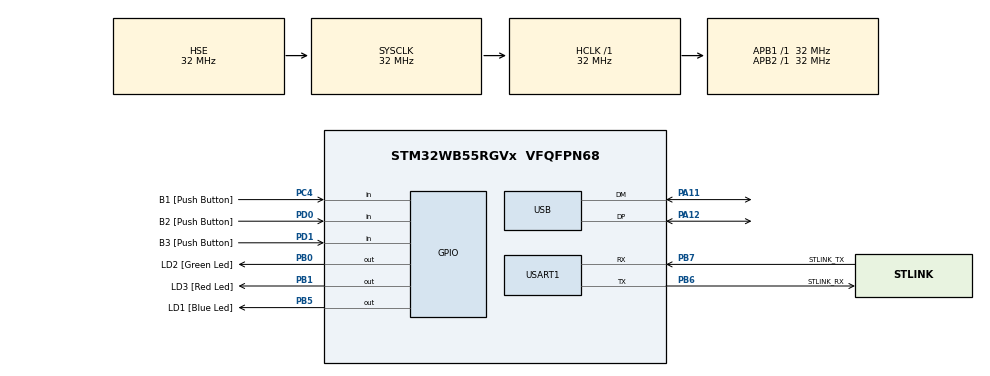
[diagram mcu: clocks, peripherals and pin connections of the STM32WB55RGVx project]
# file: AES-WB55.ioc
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AES1.KeySize=CRYP_KEYSIZE_256B
AES1.pKey=603DEB10 15CA71BE 2B73AEF0 857D7781 1F352C07 3B6108D7 2D9810A3 0914DFF4
Mcu.Family=STM32WB
Mcu.Name=STM32WB55RGVx
Mcu.Package=VFQFPN68
NVIC.PriorityGroup=NVIC_PRIORITYGROUP_4
OSC_IN.Mode=HSE-External-Oscillator
OSC_IN.Signal=RCC_OSC_IN
OSC_OUT.Mode=HSE-External-Oscillator
OSC_OUT.Signal=RCC_OSC_OUT
PA11.Mode=Device
PA11.Signal=USB_DM
PA12.Mode=Device
PA12.Signal=USB_DP
PA13.GPIO_Label=JTMS
PA13.Mode=Trace_Asynchronous_SW
PA13.Signal=SYS_JTMS-SWDIO
PA14.GPIO_Label=JTCK
PA14.Mode=Trace_Asynchronous_SW
PA14.Signal=SYS_JTCK-SWCLK
PB0.GPIO_Label=LD2 [Green Led]
PB0.Signal=GPIO_Output
PB1.GPIO_Label=LD3 [Red Led]
PB1.Signal=GPIO_Output
PB3.GPIO_Label=JTDO
PB3.Mode=Trace_Asynchronous_SW
PB3.Signal=SYS_JTDO-SWO
PB5.GPIO_Label=LD1 [Blue Led]
PB5.Signal=GPIO_Output
PB6.GPIO_Label=STLINK_RX
PB6.GPIO_PuPd=GPIO_PULLUP
PB6.Mode=Asynchronous
PB6.Signal=USART1_TX
PB7.GPIO_Label=STLINK_TX
PB7.GPIO_PuPd=GPIO_PULLUP
PB7.Mode=Asynchronous
PB7.Signal=USART1_RX
PC13.Mode=SYS_WakeUp1
PC13.Signal=SYS_WKUP2
PC14-OSC32_IN.Mode=LSE-External-Oscillator
PC14-OSC32_IN.Signal=RCC_OSC32_IN
PC15-OSC32_OUT.Mode=LSE-External-Oscillator
PC15-OSC32_OUT.Signal=RCC_OSC32_OUT
PC4.GPIO_Label=B1 [Push Button]
PC4.Signal=GPIO_Input
PD0.GPIO_Label=B2 [Push Button]
PD0.Signal=GPIO_Input
PD1.GPIO_Label=B3 [Push Button]
PD1.Signal=GPIO_Input
ProjectManager.HeapSize=0x200
ProjectManager.StackSize=0x400
ProjectManager.TargetToolchain=STM32CubeIDE
RCC.ADCFreq_Value=48000000
RCC.AHBFreq_Value=32000000
RCC.APB1Freq_Value=32000000
RCC.APB1TimFreq_Value=32000000
RCC.APB2Freq_Value=32000000
RCC.APB2TimFreq_Value=32000000
RCC.APB3Freq_Value=16000000
RCC.CortexFreq_Value=32000000
RCC.HCLKFreq_Value=32000000
RCC.HSE_VALUE=32000000
RCC.HSI48_VALUE=48000000
RCC.HSI_VALUE=16000000
RCC.PLLN=32
RCC.PLLSAI1N=24
RCC.SMPSCLockSelectionVirtual=RCC_SMPSCLKSOURCE_HSI
RCC.SMPSCLockSelectionVirtualVirtual=RCC_SMPSCLKSOURCE_HSI
RCC.SMPSDivider=1
RCC.SYSCLKFreq_VALUE=32000000
RCC.SYSCLKSource=RCC_SYSCLKSOURCE_HSE
RCC.USBFreq_Value=48000000
RCC.VCOOutputFreq_Value=128000000
USART1.VirtualMode-Asynchronous=VM_ASYNC
USART1.WordLength=WORDLENGTH_7B
VP_AES1_VS_AES.Mode=AES_Activate
board=P-NUCLEO-WB55-Nucleo

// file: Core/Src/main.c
/* USER CODE BEGIN Header */
/**
  ******************************************************************************
  * @file           : main.c
  * @brief          : Main program body
  ******************************************************************************
  * @attention
  *
  * <h2><center>&copy; Copyright (c) 2021 STMicroelectronics.
  * All rights reserved.</center></h2>
  *
  * This software component is licensed by ST under BSD 3-Clause license,
  * the "License"; You may not use this file except in compliance with the
  * License. You may obtain a copy of the License at:
  *                        opensource.org/licenses/BSD-3-Clause
  *
  ******************************************************************************
  ******************************************************************************
  ******************************************************************************
	F.1.5 ECB-AES256.Encrypt
	Key 603deb1015ca71be2b73aef0857d77811f352c073b6108d72d9810a30914dff4
	Block #1
	Plaintext 6bc1bee22e409f96e93d7e117393172a
	Input Block 6bc1bee22e409f96e93d7e117393172a
	Output Block f3eed1bdb5d2a03c064b5a7e3db181f8
	Ciphertext f3eed1bdb5d2a03c064b5a7e3db181f8

  */
/* USER CODE END Header */
#include "main.h"

CRYP_HandleTypeDef hcryp1;
__ALIGN_BEGIN static const uint32_t pKeyAES1[8] __ALIGN_END = {
                            0x603DEB10,0x15CA71BE,0x2B73AEF0,0x857D7781,0x1F352C07,0x3B6108D7,0x2D9810A3,0x0914DFF4};

UART_HandleTypeDef huart1;

PCD_HandleTypeDef hpcd_USB_FS;

/* USER CODE BEGIN PV */
uint32_t input_data[4]={0x6bc1bee2, 0x2e409f96, 0xe93d7e11, 0x7393172a};
uint32_t encrypted_data[4];
uint32_t decrypted_data[4];

volatile uint32_t time_start, time_end, time_diff;
#define TIME_MEASURE_START time_start = SysTick->VAL
#define TIME_MEASURE_STOP time_end = SysTick->VAL; \
	time_diff=time_start-time_end

/* USER CODE END PV */

void SystemClock_Config(void);
static void MX_GPIO_Init(void);
static void MX_AES1_Init(void);
static void MX_USART1_UART_Init(void);
static void MX_USB_PCD_Init(void);

int main(void)
{

  /* MCU Configuration--------------------------------------------------------*/

  /* Reset of all peripherals, Initializes the Flash interface and the Systick. */
  HAL_Init();

  /* Configure the system clock */
  SystemClock_Config();

  /* Initialize all configured peripherals */
  MX_GPIO_Init();
  MX_AES1_Init();
  MX_USART1_UART_Init();
  MX_USB_PCD_Init();
  /* USER CODE BEGIN 2 */
  HAL_SYSTICK_Config(0xFFFFFFFF);
  TIME_MEASURE_START;
  HAL_CRYP_Encrypt(&hcryp1, input_data, 4, encrypted_data, 1000);
  TIME_MEASURE_STOP;

  HAL_SYSTICK_Config(0xFFFFFFFF);
  TIME_MEASURE_START;
  HAL_CRYP_Decrypt(&hcryp1, encrypted_data, 4, decrypted_data, 1000);
  TIME_MEASURE_STOP;
  /* USER CODE END 2 */
  /* Infinite loop */
  while (1)
  {

  }
}

void SystemClock_Config(void)
{
  RCC_OscInitTypeDef RCC_OscInitStruct = {0};
  RCC_ClkInitTypeDef RCC_ClkInitStruct = {0};
  RCC_PeriphCLKInitTypeDef PeriphClkInitStruct = {0};

  /** Macro to configure the PLL multiplication factor
  */
  __HAL_RCC_PLL_PLLM_CONFIG(RCC_PLLM_DIV1);
  /** Macro to configure the PLL clock source
  */
  __HAL_RCC_PLL_PLLSOURCE_CONFIG(RCC_PLLSOURCE_MSI);
  /** Configure LSE Drive Capability
  */
  HAL_PWR_EnableBkUpAccess();
  __HAL_RCC_LSEDRIVE_CONFIG(RCC_LSEDRIVE_LOW);
  /** Configure the main internal regulator output voltage
  */
  __HAL_PWR_VOLTAGESCALING_CONFIG(PWR_REGULATOR_VOLTAGE_SCALE1);
  /** Initializes the RCC Oscillators according to the specified parameters
  * in the RCC_OscInitTypeDef structure.
  */
  RCC_OscInitStruct.OscillatorType = RCC_OSCILLATORTYPE_HSI|RCC_OSCILLATORTYPE_HSE
                              |RCC_OSCILLATORTYPE_LSE|RCC_OSCILLATORTYPE_MSI;
  RCC_OscInitStruct.HSEState = RCC_HSE_ON;
  RCC_OscInitStruct.LSEState = RCC_LSE_ON;
  RCC_OscInitStruct.HSIState = RCC_HSI_ON;
  RCC_OscInitStruct.MSIState = RCC_MSI_ON;
  RCC_OscInitStruct.HSICalibrationValue = RCC_HSICALIBRATION_DEFAULT;
  RCC_OscInitStruct.MSICalibrationValue = RCC_MSICALIBRATION_DEFAULT;
  RCC_OscInitStruct.MSIClockRange = RCC_MSIRANGE_6;
  RCC_OscInitStruct.PLL.PLLState = RCC_PLL_NONE;
  if (HAL_RCC_OscConfig(&RCC_OscInitStruct) != HAL_OK)
  {
    Error_Handler();
  }
  /** Configure the SYSCLKSource, HCLK, PCLK1 and PCLK2 clocks dividers
  */
  RCC_ClkInitStruct.ClockType = RCC_CLOCKTYPE_HCLK4|RCC_CLOCKTYPE_HCLK2
                              |RCC_CLOCKTYPE_HCLK|RCC_CLOCKTYPE_SYSCLK
                              |RCC_CLOCKTYPE_PCLK1|RCC_CLOCKTYPE_PCLK2;
  RCC_ClkInitStruct.SYSCLKSource = RCC_SYSCLKSOURCE_HSE;
  RCC_ClkInitStruct.AHBCLKDivider = RCC_SYSCLK_DIV1;
  RCC_ClkInitStruct.APB1CLKDivider = RCC_HCLK_DIV1;
  RCC_ClkInitStruct.APB2CLKDivider = RCC_HCLK_DIV1;
  RCC_ClkInitStruct.AHBCLK2Divider = RCC_SYSCLK_DIV1;
  RCC_ClkInitStruct.AHBCLK4Divider = RCC_SYSCLK_DIV1;

  if (HAL_RCC_ClockConfig(&RCC_ClkInitStruct, FLASH_LATENCY_1) != HAL_OK)
  {
    Error_Handler();
  }
  /** Initializes the peripherals clocks
  */
  PeriphClkInitStruct.PeriphClockSelection = RCC_PERIPHCLK_SMPS|RCC_PERIPHCLK_USART1
                              |RCC_PERIPHCLK_USB;
  PeriphClkInitStruct.PLLSAI1.PLLN = 24;
  PeriphClkInitStruct.PLLSAI1.PLLP = RCC_PLLP_DIV2;
  PeriphClkInitStruct.PLLSAI1.PLLQ = RCC_PLLQ_DIV2;
  PeriphClkInitStruct.PLLSAI1.PLLR = RCC_PLLR_DIV2;
  PeriphClkInitStruct.PLLSAI1.PLLSAI1ClockOut = RCC_PLLSAI1_USBCLK;
  PeriphClkInitStruct.Usart1ClockSelection = RCC_USART1CLKSOURCE_PCLK2;
  PeriphClkInitStruct.UsbClockSelection = RCC_USBCLKSOURCE_PLLSAI1;
  PeriphClkInitStruct.SmpsClockSelection = RCC_SMPSCLKSOURCE_HSI;
  PeriphClkInitStruct.SmpsDivSelection = RCC_SMPSCLKDIV_RANGE0;
  if (HAL_RCCEx_PeriphCLKConfig(&PeriphClkInitStruct) != HAL_OK)
  {
    Error_Handler();
  }
  /** Enable MSI Auto calibration
  */
  HAL_RCCEx_EnableMSIPLLMode();
}

static void MX_AES1_Init(void)
{

  hcryp1.Instance = AES1;
  hcryp1.Init.DataType = CRYP_DATATYPE_32B;
  hcryp1.Init.KeySize = CRYP_KEYSIZE_256B;
  hcryp1.Init.pKey = (uint32_t *)pKeyAES1;
  hcryp1.Init.Algorithm = CRYP_AES_ECB;
  hcryp1.Init.DataWidthUnit = CRYP_DATAWIDTHUNIT_WORD;
  hcryp1.Init.KeyIVConfigSkip = CRYP_KEYIVCONFIG_ALWAYS;
  if (HAL_CRYP_Init(&hcryp1) != HAL_OK)
  {
    Error_Handler();
  }

}

static void MX_USART1_UART_Init(void)
{

  huart1.Instance = USART1;
  huart1.Init.BaudRate = 115200;
  huart1.Init.WordLength = UART_WORDLENGTH_7B;
  huart1.Init.StopBits = UART_STOPBITS_1;
  huart1.Init.Parity = UART_PARITY_NONE;
  huart1.Init.Mode = UART_MODE_TX_RX;
  huart1.Init.HwFlowCtl = UART_HWCONTROL_NONE;
  huart1.Init.OverSampling = UART_OVERSAMPLING_16;
  huart1.Init.OneBitSampling = UART_ONE_BIT_SAMPLE_DISABLE;
  huart1.Init.ClockPrescaler = UART_PRESCALER_DIV1;
  huart1.AdvancedInit.AdvFeatureInit = UART_ADVFEATURE_NO_INIT;
  if (HAL_UART_Init(&huart1) != HAL_OK)
  {
    Error_Handler();
  }
  if (HAL_UARTEx_SetTxFifoThreshold(&huart1, UART_TXFIFO_THRESHOLD_1_8) != HAL_OK)
  {
    Error_Handler();
  }
  if (HAL_UARTEx_SetRxFifoThreshold(&huart1, UART_RXFIFO_THRESHOLD_1_8) != HAL_OK)
  {
    Error_Handler();
  }
  if (HAL_UARTEx_DisableFifoMode(&huart1) != HAL_OK)
  {
    Error_Handler();
  }

}

static void MX_USB_PCD_Init(void)
{

  hpcd_USB_FS.Instance = USB;
  hpcd_USB_FS.Init.dev_endpoints = 8;
  hpcd_USB_FS.Init.speed = PCD_SPEED_FULL;
  hpcd_USB_FS.Init.phy_itface = PCD_PHY_EMBEDDED;
  hpcd_USB_FS.Init.Sof_enable = DISABLE;
  hpcd_USB_FS.Init.low_power_enable = DISABLE;
  hpcd_USB_FS.Init.lpm_enable = DISABLE;
  hpcd_USB_FS.Init.battery_charging_enable = DISABLE;
  if (HAL_PCD_Init(&hpcd_USB_FS) != HAL_OK)
  {
    Error_Handler();
  }

}

static void MX_GPIO_Init(void)
{
  GPIO_InitTypeDef GPIO_InitStruct = {0};

  /* GPIO Ports Clock Enable */
  __HAL_RCC_GPIOC_CLK_ENABLE();
  __HAL_RCC_GPIOB_CLK_ENABLE();
  __HAL_RCC_GPIOA_CLK_ENABLE();
  __HAL_RCC_GPIOD_CLK_ENABLE();

  /*Configure GPIO pin Output Level */
  HAL_GPIO_WritePin(GPIOB, LD2_Pin|LD3_Pin|LD1_Pin, GPIO_PIN_RESET);

  /*Configure GPIO pin : B1_Pin */
  GPIO_InitStruct.Pin = B1_Pin;
  GPIO_InitStruct.Mode = GPIO_MODE_INPUT;
  GPIO_InitStruct.Pull = GPIO_NOPULL;
  HAL_GPIO_Init(B1_GPIO_Port, &GPIO_InitStruct);

  /*Configure GPIO pins : LD2_Pin LD3_Pin LD1_Pin */
  GPIO_InitStruct.Pin = LD2_Pin|LD3_Pin|LD1_Pin;
  GPIO_InitStruct.Mode = GPIO_MODE_OUTPUT_PP;
  GPIO_InitStruct.Pull = GPIO_NOPULL;
  GPIO_InitStruct.Speed = GPIO_SPEED_FREQ_LOW;
  HAL_GPIO_Init(GPIOB, &GPIO_InitStruct);

  /*Configure GPIO pins : B2_Pin B3_Pin */
  GPIO_InitStruct.Pin = B2_Pin|B3_Pin;
  GPIO_InitStruct.Mode = GPIO_MODE_INPUT;
  GPIO_InitStruct.Pull = GPIO_NOPULL;
  HAL_GPIO_Init(GPIOD, &GPIO_InitStruct);

}

void Error_Handler(void)
{
  __disable_irq();
  while (1)
  {
  }
}

/************************ (C) COPYRIGHT STMicroelectronics *****END OF FILE****/
